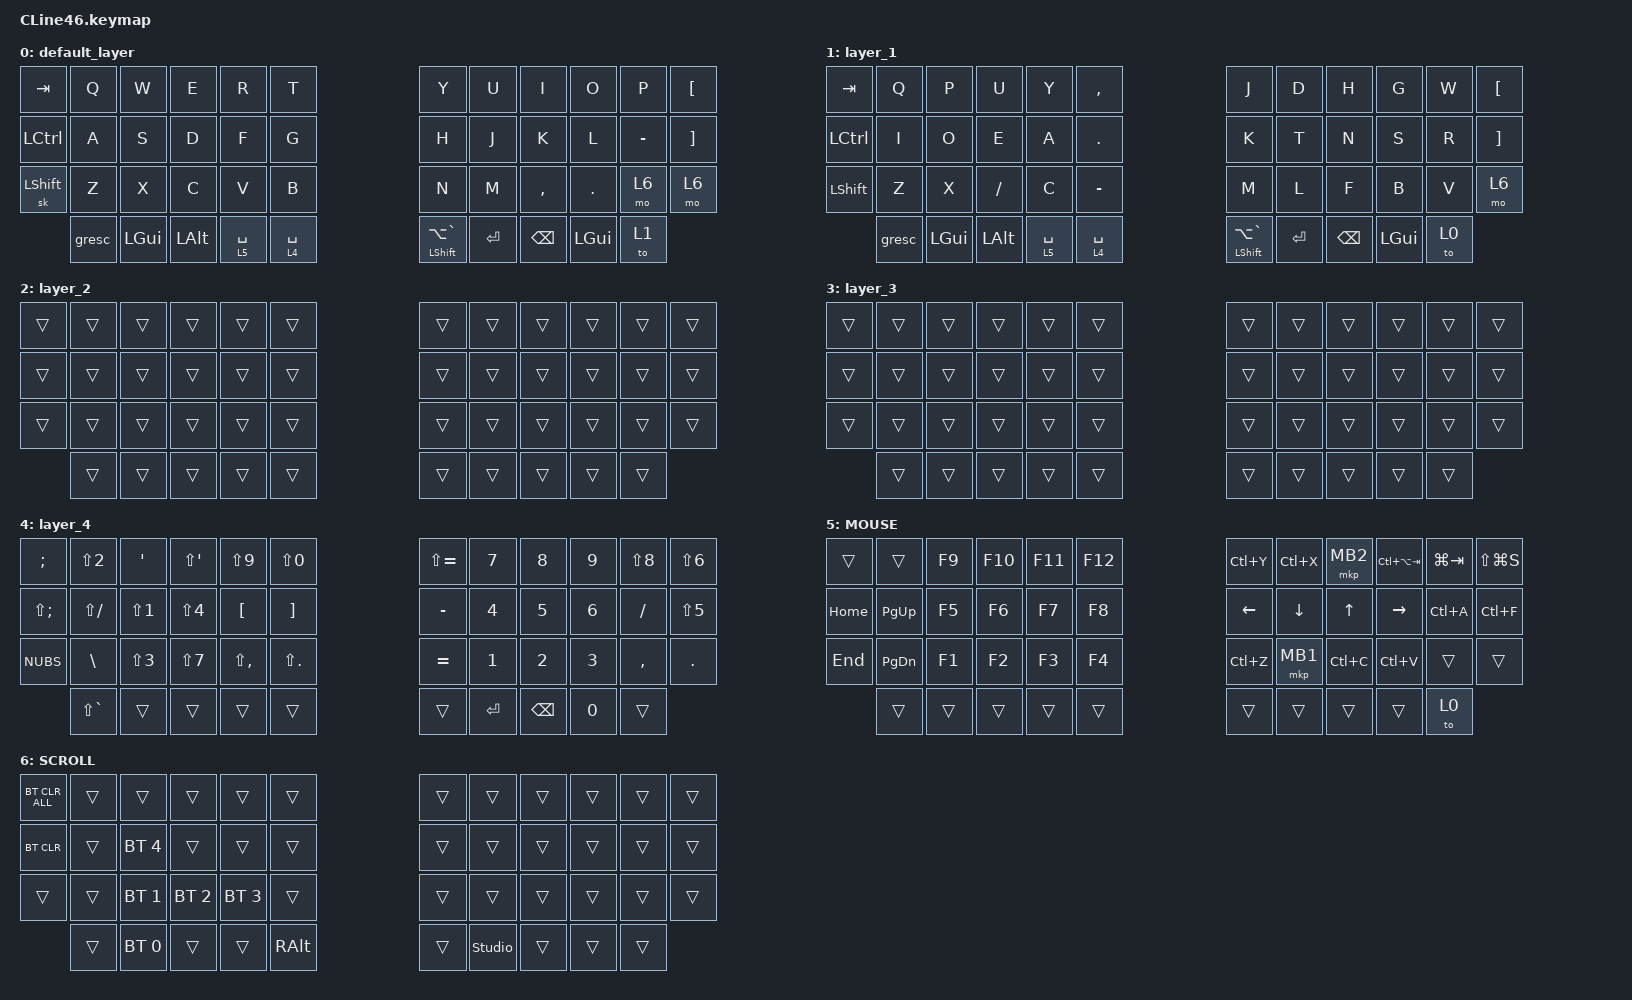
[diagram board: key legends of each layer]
#include <input/processors.dtsi>
#include <dt-bindings/zmk/input_transform.h>
#include <zephyr/dt-bindings/input/input-event-codes.h>
#include <behaviors.dtsi>
#include <dt-bindings/zmk/bt.h>
#include <dt-bindings/zmk/keys.h>
#include <dt-bindings/zmk/pointing.h>

&mt {
    flavor = "balanced";
    quick-tap-ms = <0>;
};

/ {
    combos {
        compatible = "zmk,combos";

        shift_tab {
            bindings = <&kp LS(TAB)>;
            key-positions = <0 12>;
        };

        combo_left_click_lefthand {
            bindings = <&mkp MB1>;
            key-positions = <14 15>;
            timeout-ms = <40>;
        };

        combo_left_click_righthand {
            bindings = <&mkp MB1>;
            key-positions = <20 31>;
            timeout-ms = <40>;
        };

        combo_right_click_lefthand {
            bindings = <&mkp MB2>;
            key-positions = <15 16>;
            timeout-ms = <40>;
        };

        combo_right_click_righthand {
            bindings = <&mkp MB2>;
            key-positions = <20 21>;
            timeout-ms = <40>;
        };

        copy_cursor_to_end {
            bindings = <&kp LS(END)>;
            key-positions = <30 31>;
            timeout-ms = <50>;
        };

        select_current_line {
            bindings = <&select_current_line>;
            key-positions = <32 33>;
            timeout-ms = <50>;
        };
    };

    macros {
        to_layer_0: to_layer_0 {
            compatible = "zmk,behavior-macro-one-param";
            #binding-cells = <1>;
            bindings = <&to 0 &macro_param_1to1 &kp MACRO_PLACEHOLDER>;
            label = "TO_LAYER_0";
        };

        select_current_line: select_current_line {
            compatible = "zmk,behavior-macro";
            #binding-cells = <0>;
            wait-ms = <10>;
            tap-ms = <10>;
            bindings
                = <&kp HOME>
                , <&macro_wait_time 10>
                , <&kp LS(END)>
                ;
            label = "SELECT_CURRENT_LINE";
        };
    };

    behaviors {
        lt_to_layer_0: lt_to_layer_0 {
            compatible = "zmk,behavior-hold-tap";
            label = "LAYER_TAP_TO_0";
            bindings = <&mo>, <&to_layer_0>;

            #binding-cells = <2>;
            tapping-term-ms = <200>;
        };
    };

    keymap {
        compatible = "zmk,keymap";

        default_layer {
            bindings = <
&kp TAB      &kp Q     &kp W      &kp E      &kp R        &kp T                                          &kp Y     &kp U   &kp I       &kp O          &kp P       &kp LEFT_BRACKET
&kp LCTRL    &kp A     &kp S      &kp D      &kp F        &kp G                                          &kp H     &kp J   &kp K       &kp L          &kp MINUS   &kp RIGHT_BRACKET
&sk LSHIFT   &kp Z     &kp X      &kp C      &kp V        &kp B                                          &kp N     &kp M   &kp COMMA   &kp DOT        &mo 6       &mo 6
             &gresc    &kp LGUI   &kp LALT   &lt 5 SPACE  &lt 4 SPACE  &mt LSHIFT LA(GRAVE)   &kp RET    &kp BSPC                      &kp LEFT_GUI   &to 1
            >;
        };


        layer_1 {
            bindings = <
&kp TAB     &kp Q   &kp P     &kp U       &kp Y         &kp COMMA                                        &kp J    &kp D   &kp H  &kp G          &kp W  &kp LEFT_BRACKET
&kp LCTRL   &kp I   &kp O     &kp E       &kp A         &kp DOT                                          &kp K    &kp T   &kp N  &kp S          &kp R  &kp RIGHT_BRACKET
&kp LSHIFT  &kp Z   &kp X     &kp SLASH   &kp C         &kp MINUS                                        &kp M    &kp L   &kp F  &kp B          &kp V  &mo 6
            &gresc  &kp LGUI  &kp LALT    &lt 5 SPACE   &lt 4 SPACE  &mt LSHIFT LA(GRAVE)      &kp RET   &kp BSPC                &kp LEFT_GUI   &to 0
            >;
        };


        layer_2 {
            bindings = <
&trans   &trans   &trans   &trans         &trans         &trans                        &trans   &trans   &trans   &trans   &trans   &trans
&trans   &trans   &trans   &trans         &trans         &trans                        &trans   &trans   &trans   &trans   &trans   &trans
&trans   &trans   &trans   &trans         &trans         &trans                        &trans   &trans   &trans   &trans   &trans   &trans
         &trans   &trans   &trans         &trans         &trans   &trans      &trans   &trans                     &trans   &trans
         >;
        };


        layer_3 {
            bindings = <
&trans   &trans   &trans   &trans         &trans         &trans                        &trans   &trans   &trans   &trans   &trans   &trans
&trans   &trans   &trans   &trans         &trans         &trans                        &trans   &trans   &trans   &trans   &trans   &trans
&trans   &trans   &trans   &trans         &trans         &trans                        &trans   &trans   &trans   &trans   &trans   &trans
         &trans   &trans   &trans         &trans         &trans   &trans      &trans   &trans                     &trans   &trans
         >;
        };


        layer_4 {
            bindings = <
&kp SEMI      &kp LS(N2)     &kp APOS    &kp LS(APOS)  &kp LS(N9)     &kp LS(N0)                                &kp LS(EQUAL)  &kp N7  &kp N8  &kp N9  &kp LS(N8)  &kp LS(N6)
&kp LS(SEMI)  &kp LS(SLASH)  &kp LS(N1)  &kp LS(N4)    &kp LBKT       &kp RBKT                                  &kp MINUS      &kp N4  &kp N5  &kp N6  &kp SLASH   &kp LS(N5)
&kp NUBS      &kp BSLH       &kp LS(N3)  &kp LS(N7)    &kp LS(COMMA)  &kp LS(DOT)                               &kp EQUAL      &kp N1  &kp N2  &kp N3  &kp COMMA   &kp DOT
              &kp LS(GRAVE)  &trans      &trans        &trans         &trans       &trans             &kp RET   &kp BSPC                       &kp N0  &trans
            >;
        };


        MOUSE {
            bindings = <
&trans    &trans     &kp F9   &kp F10  &kp F11  &kp F12                         &kp LC(Y)        &kp LC(X)        &mkp MB2      &kp LC(LA(TAB))  &kp LG(TAB) &kp LS(LG(S))
&kp HOME  &kp PG_UP  &kp F5   &kp F6   &kp F7   &kp F8                          &kp LEFT_ARROW   &kp DOWN_ARROW   &kp UP_ARROW  &kp RIGHT_ARROW  &kp LC(A)   &kp LC(F)
&kp END   &kp PG_DN  &kp F1   &kp F2   &kp F3   &kp F4                          &kp LC(Z)        &mkp MB1         &kp LC(C)     &kp LC(V)        &trans      &trans
          &trans     &trans   &trans   &trans   &trans    &trans      &trans    &trans                                          &trans           &to 0
                     >;
        };


        SCROLL {
            bindings = <
&bt BT_CLR_ALL   &trans   &trans         &trans         &trans         &trans                                  &trans   &trans   &trans   &trans   &trans   &trans
&bt BT_CLR       &trans   &bt BT_SEL 4   &trans         &trans         &trans                                  &trans   &trans   &trans   &trans   &trans   &trans
&trans           &trans   &bt BT_SEL 1   &bt BT_SEL 2   &bt BT_SEL 3   &trans                                  &trans   &trans   &trans   &trans   &trans   &trans
                 &trans   &bt BT_SEL 0   &trans         &trans         &kp RALT    &trans      &studio_unlock  &trans                     &trans   &trans
            >;
        };
    };
};
